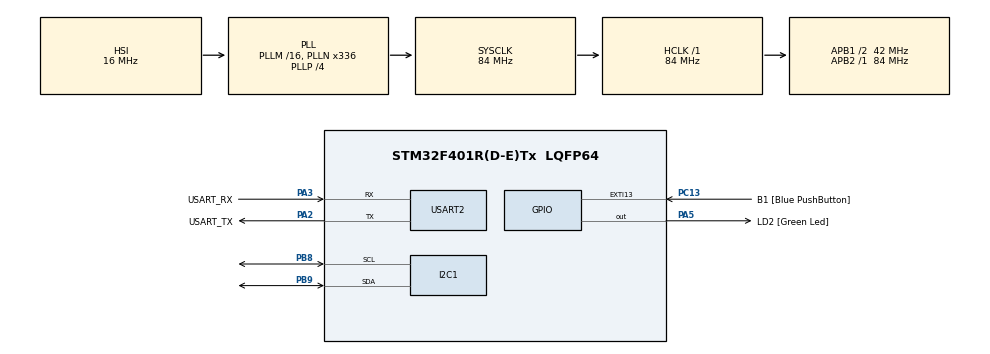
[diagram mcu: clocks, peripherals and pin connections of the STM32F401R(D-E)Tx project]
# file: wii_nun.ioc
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Mcu.Family=STM32F4
Mcu.Name=STM32F401R(D-E)Tx
Mcu.Package=LQFP64
NVIC.PriorityGroup=NVIC_PRIORITYGROUP_0
PA13.GPIO_Label=TMS
PA13.Mode=Serial_Wire
PA13.Signal=SYS_JTMS-SWDIO
PA14.GPIO_Label=TCK
PA14.Mode=Serial_Wire
PA14.Signal=SYS_JTCK-SWCLK
PA2.GPIO_Label=USART_TX
PA2.GPIO_Mode=GPIO_MODE_AF_PP
PA2.GPIO_PuPd=GPIO_NOPULL
PA2.GPIO_Speed=GPIO_SPEED_FREQ_LOW
PA2.Mode=Asynchronous
PA2.Signal=USART2_TX
PA3.GPIO_Label=USART_RX
PA3.GPIO_Mode=GPIO_MODE_AF_PP
PA3.GPIO_PuPd=GPIO_NOPULL
PA3.GPIO_Speed=GPIO_SPEED_FREQ_LOW
PA3.Mode=Asynchronous
PA3.Signal=USART2_RX
PA5.GPIO_Label=LD2 [Green Led]
PA5.GPIO_Mode=GPIO_MODE_OUTPUT_PP
PA5.GPIO_PuPd=GPIO_NOPULL
PA5.GPIO_Speed=GPIO_SPEED_FREQ_LOW
PA5.Signal=GPIO_Output
PB3.GPIO_Label=SWO
PB3.Signal=SYS_JTDO-SWO
PB8.Mode=I2C
PB8.Signal=I2C1_SCL
PB9.Mode=I2C
PB9.Signal=I2C1_SDA
PC13-ANTI_TAMP.GPIO_Label=B1 [Blue PushButton]
PC13-ANTI_TAMP.GPIO_ModeDefaultEXTI=GPIO_MODE_IT_FALLING
PC13-ANTI_TAMP.GPIO_PuPd=GPIO_NOPULL
PC13-ANTI_TAMP.Signal=GPXTI13
PC14-OSC32_IN.Mode=LSE-External-Oscillator
PC14-OSC32_IN.Signal=RCC_OSC32_IN
PC15-OSC32_OUT.Mode=LSE-External-Oscillator
PC15-OSC32_OUT.Signal=RCC_OSC32_OUT
PH0\ -\ OSC_IN.Mode=HSE-External-Clock-Source
PH0\ -\ OSC_IN.Signal=RCC_OSC_IN
PH1\ -\ OSC_OUT.Mode=HSE-External-Clock-Source
PH1\ -\ OSC_OUT.Signal=RCC_OSC_OUT
ProjectManager.HeapSize=0x200
ProjectManager.StackSize=0x400
ProjectManager.TargetToolchain=MDK-ARM V5.27
RCC.48MHZClocksFreq_Value=48000000
RCC.AHBFreq_Value=84000000
RCC.APB1CLKDivider=RCC_HCLK_DIV2
RCC.APB1Freq_Value=42000000
RCC.APB1TimFreq_Value=84000000
RCC.APB2Freq_Value=84000000
RCC.APB2TimFreq_Value=84000000
RCC.CortexFreq_Value=84000000
RCC.HCLKFreq_Value=84000000
RCC.HSE_VALUE=8000000
RCC.HSI_VALUE=16000000
RCC.PLLN=336
RCC.PLLP=RCC_PLLP_DIV4
RCC.PLLQ=7
RCC.SYSCLKFreq_VALUE=84000000
RCC.SYSCLKSource=RCC_SYSCLKSOURCE_PLLCLK
RCC.VCOOutputFreq_Value=336000000
USART2.VirtualMode=VM_ASYNC
board=NUCLEO-F401RE

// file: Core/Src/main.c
/* USER CODE BEGIN Header */
/**
  ******************************************************************************
  * @file           : main.c
  * @brief          : Main program body
  ******************************************************************************
  * @attention
  *
  * <h2><center>&copy; Copyright (c) 2021 STMicroelectronics.
  * All rights reserved.</center></h2>
  *
  * This software component is licensed by ST under BSD 3-Clause license,
  * the "License"; You may not use this file except in compliance with the
  * License. You may obtain a copy of the License at:
  *                        opensource.org/licenses/BSD-3-Clause
  *
  ******************************************************************************
  */
/* USER CODE END Header */
#include "main.h"
/* USER CODE BEGIN Includes */
#include "Wii_Nunchuk.h"
#include "i2c-lcd.h"
#include "stdint.h"
#include "stdio.h"
#include "stdint.h"
/* USER CODE END Includes */

I2C_HandleTypeDef hi2c1;

UART_HandleTypeDef huart2;

/* USER CODE BEGIN PV */
 wiiNunchuck Wii_values;
 int counter=0;
 char mystr[17];
/* USER CODE END PV */

void SystemClock_Config(void);
static void MX_GPIO_Init(void);
static void MX_I2C1_Init(void);
static void MX_USART2_UART_Init(void);

int main(void)
{

  /* MCU Configuration--------------------------------------------------------*/

  /* Reset of all peripherals, Initializes the Flash interface and the Systick. */
  HAL_Init();

  /* Configure the system clock */
  SystemClock_Config();

  /* Initialize all configured peripherals */
  MX_GPIO_Init();
  MX_I2C1_Init();
  MX_USART2_UART_Init();
  /* USER CODE BEGIN 2 */
	lcd_init ();
	lcd_clear ();
	HAL_Delay(2);
	WiiNunchuck_init(&Wii_values,&hi2c1);

  /* USER CODE END 2 */

  /* Infinite loop */
  /* USER CODE BEGIN WHILE */
  while (1)
  {
		WiiNunchuck_ReadData(&Wii_values, &hi2c1);

		sprintf(mystr,"X%03d  Y%03d  Z%03d",Wii_values.accel_x,Wii_values.accel_y,Wii_values.accel_z);
		lcd_string_draw(mystr, 0, 1);
		sprintf(mystr,"JX%03d JY%03d C%01dZ%01d",Wii_values.joy_x,Wii_values.joy_y,Wii_values.button_c,Wii_values.button_z);
		lcd_string_draw(mystr, 0, 0);
			HAL_Delay(100);

    /* USER CODE END WHILE */

  }
}

void SystemClock_Config(void)
{
  RCC_OscInitTypeDef RCC_OscInitStruct = {0};
  RCC_ClkInitTypeDef RCC_ClkInitStruct = {0};

  /** Configure the main internal regulator output voltage
  */
  __HAL_RCC_PWR_CLK_ENABLE();
  __HAL_PWR_VOLTAGESCALING_CONFIG(PWR_REGULATOR_VOLTAGE_SCALE2);
  /** Initializes the RCC Oscillators according to the specified parameters
  * in the RCC_OscInitTypeDef structure.
  */
  RCC_OscInitStruct.OscillatorType = RCC_OSCILLATORTYPE_HSI;
  RCC_OscInitStruct.HSIState = RCC_HSI_ON;
  RCC_OscInitStruct.HSICalibrationValue = RCC_HSICALIBRATION_DEFAULT;
  RCC_OscInitStruct.PLL.PLLState = RCC_PLL_ON;
  RCC_OscInitStruct.PLL.PLLSource = RCC_PLLSOURCE_HSI;
  RCC_OscInitStruct.PLL.PLLM = 16;
  RCC_OscInitStruct.PLL.PLLN = 336;
  RCC_OscInitStruct.PLL.PLLP = RCC_PLLP_DIV4;
  RCC_OscInitStruct.PLL.PLLQ = 7;
  if (HAL_RCC_OscConfig(&RCC_OscInitStruct) != HAL_OK)
  {
    Error_Handler();
  }
  /** Initializes the CPU, AHB and APB buses clocks
  */
  RCC_ClkInitStruct.ClockType = RCC_CLOCKTYPE_HCLK|RCC_CLOCKTYPE_SYSCLK
                              |RCC_CLOCKTYPE_PCLK1|RCC_CLOCKTYPE_PCLK2;
  RCC_ClkInitStruct.SYSCLKSource = RCC_SYSCLKSOURCE_PLLCLK;
  RCC_ClkInitStruct.AHBCLKDivider = RCC_SYSCLK_DIV1;
  RCC_ClkInitStruct.APB1CLKDivider = RCC_HCLK_DIV2;
  RCC_ClkInitStruct.APB2CLKDivider = RCC_HCLK_DIV1;

  if (HAL_RCC_ClockConfig(&RCC_ClkInitStruct, FLASH_LATENCY_2) != HAL_OK)
  {
    Error_Handler();
  }
}

static void MX_I2C1_Init(void)
{

  hi2c1.Instance = I2C1;
  hi2c1.Init.ClockSpeed = 100000;
  hi2c1.Init.DutyCycle = I2C_DUTYCYCLE_2;
  hi2c1.Init.OwnAddress1 = 0;
  hi2c1.Init.AddressingMode = I2C_ADDRESSINGMODE_7BIT;
  hi2c1.Init.DualAddressMode = I2C_DUALADDRESS_DISABLE;
  hi2c1.Init.OwnAddress2 = 0;
  hi2c1.Init.GeneralCallMode = I2C_GENERALCALL_DISABLE;
  hi2c1.Init.NoStretchMode = I2C_NOSTRETCH_DISABLE;
  if (HAL_I2C_Init(&hi2c1) != HAL_OK)
  {
    Error_Handler();
  }

}

static void MX_USART2_UART_Init(void)
{

  huart2.Instance = USART2;
  huart2.Init.BaudRate = 115200;
  huart2.Init.WordLength = UART_WORDLENGTH_8B;
  huart2.Init.StopBits = UART_STOPBITS_1;
  huart2.Init.Parity = UART_PARITY_NONE;
  huart2.Init.Mode = UART_MODE_TX_RX;
  huart2.Init.HwFlowCtl = UART_HWCONTROL_NONE;
  huart2.Init.OverSampling = UART_OVERSAMPLING_16;
  if (HAL_UART_Init(&huart2) != HAL_OK)
  {
    Error_Handler();
  }

}

static void MX_GPIO_Init(void)
{
  GPIO_InitTypeDef GPIO_InitStruct = {0};

  /* GPIO Ports Clock Enable */
  __HAL_RCC_GPIOC_CLK_ENABLE();
  __HAL_RCC_GPIOH_CLK_ENABLE();
  __HAL_RCC_GPIOA_CLK_ENABLE();
  __HAL_RCC_GPIOB_CLK_ENABLE();

  /*Configure GPIO pin Output Level */
  HAL_GPIO_WritePin(LD2_GPIO_Port, LD2_Pin, GPIO_PIN_RESET);

  /*Configure GPIO pin : B1_Pin */
  GPIO_InitStruct.Pin = B1_Pin;
  GPIO_InitStruct.Mode = GPIO_MODE_IT_FALLING;
  GPIO_InitStruct.Pull = GPIO_NOPULL;
  HAL_GPIO_Init(B1_GPIO_Port, &GPIO_InitStruct);

  /*Configure GPIO pin : LD2_Pin */
  GPIO_InitStruct.Pin = LD2_Pin;
  GPIO_InitStruct.Mode = GPIO_MODE_OUTPUT_PP;
  GPIO_InitStruct.Pull = GPIO_NOPULL;
  GPIO_InitStruct.Speed = GPIO_SPEED_FREQ_LOW;
  HAL_GPIO_Init(LD2_GPIO_Port, &GPIO_InitStruct);

}

void Error_Handler(void)
{
  __disable_irq();
  while (1)
  {
  }
}

/************************ (C) COPYRIGHT STMicroelectronics *****END OF FILE****/
